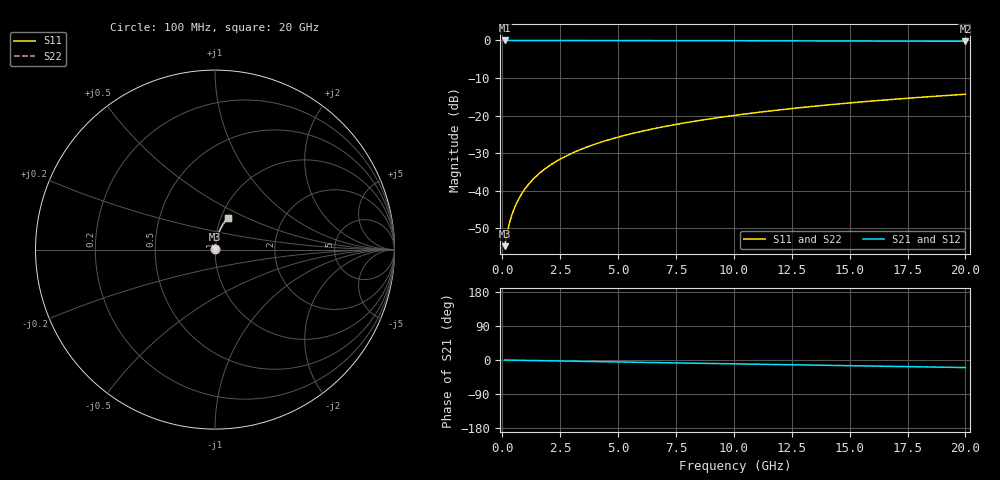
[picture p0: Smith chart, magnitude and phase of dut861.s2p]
! Touchstone file exported from HFSS 2026.1.0
!  File:  C:/ffzhzh/LocalFiles/Ansys_Project_Files/temp_train_TMRDL_861_1783157157_18472.aedt
!  Generated:  05:27:06 PM Jul  4, 2026
!  Design:  TMRDL
!  Project:  temp_train_TMRDL_861_1783157157_18472
! Variables:
!  h_bsmrdl = 2um
!  h_ox = 20um
!  h_rdl = 5um
!  h_sub = 80um
!  h_tmrdl = 5.12um
!  h_tsv = 80um
!  h_via = 3um
!  l_bsmrdl = 300um
!  l_sub = 677.14um
!  l_tmrdl = 277.14um
!  m_sub = 200um
!  pitch = 35.35um
!  r_tsv = 6um
!  s_tmrdl = 10um
!  w_bsmrdl = 18um
!  w_sub = 500um
!  w_tmrdl = 14.52um
!  x_tsv_center1 = 284.4um
!  x_tsv_center2 = 602.4um
!  x_tsv_center3 = 894.06um
!  x_tsv_center4 = 1212.06um
!  x_tsv_center5 = 1503.72um
!  x_tsv_center6 = 1821.72um
# GHz S MA R 50.000000
! Terminal data exported
! Port[1] = TM_RDL1_1_T1
! Port[2] = TM_RDL1_1_T2
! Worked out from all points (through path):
!   200 points, 100 MHz to 20 GHz, reference 50 ohm
!   highest |S21| = -0.01 dB at 100 MHz (marker M1); lowest = -0.2 dB at 20 GHz (marker M2)
!   group delay of S21, straight-line fit = 2.76 ps
!   lowest |S11| = -54.8 dB at 100 MHz (marker M3), VSWR 1.00, Z = 50.1 + j0.113 ohm
!   |S11| at or under -10 dB: start of sweep to end of sweep
!   |S22| runs from -54.8 to -14.3 dB; largest |S21 - S12| = 4e-15
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0.1  0.001829 38.2  0.9986 -0.1  0.9986 -0.1  0.001829 38.2
! Gamma 0 0 0 0
! Port Impedance 50 0 50 0
0.2  0.002683 56.0  0.9985 -0.2  0.9985 -0.2  0.002683 56.0
0.3  0.00364 64.6  0.9985 -0.3  0.9985 -0.3  0.00364 64.6
0.4  0.004628 69.6  0.9984 -0.4  0.9984 -0.4  0.004628 69.6
0.5  0.005632 72.8  0.9984 -0.5  0.9984 -0.5  0.005632 72.8
0.6  0.006647 75.1  0.9983 -0.6  0.9983 -0.6  0.006647 75.1
0.8  0.0087 78.0  0.9983 -0.8  0.9983 -0.8  0.0087 78.0
1.1  0.01181 80.3  0.9982 -1.2  0.9982 -1.2  0.01181 80.3
1.5  0.01597 81.7  0.998 -1.6  0.998 -1.6  0.01597 81.7
1.8  0.01909 82.3  0.9979 -1.9  0.9979 -1.9  0.01909 82.3
2.1  0.0222 82.5  0.9977 -2.2  0.9977 -2.2  0.0222 82.5
2.7  0.0284 82.6  0.9973 -2.8  0.9973 -2.8  0.0284 82.6
3.5  0.03657 82.3  0.9967 -3.6  0.9967 -3.6  0.03657 82.3
4.2  0.04365 81.8  0.9962 -4.3  0.9962 -4.3  0.04365 81.8
5  0.05166 81.2  0.9954 -5.2  0.9954 -5.2  0.05166 81.2
5.9  0.06058 80.5  0.9946 -6.1  0.9946 -6.1  0.06058 80.5
6.8  0.06943 79.8  0.9937 -7.0  0.9937 -7.0  0.06943 79.8
8.3  0.08401 78.5  0.9921 -8.5  0.9921 -8.5  0.08401 78.5
10.1  0.1013 76.9  0.9899 -10.3  0.9899 -10.3  0.1013 76.9
13.4  0.1324 74.0  0.9855 -13.5  0.9855 -13.5  0.1324 74.0
16.7  0.1628 71.0  0.9804 -16.8  0.9804 -16.8  0.1628 71.0
20  0.1922 68.0  0.9745 -19.9  0.9745 -19.9  0.1922 68.0
